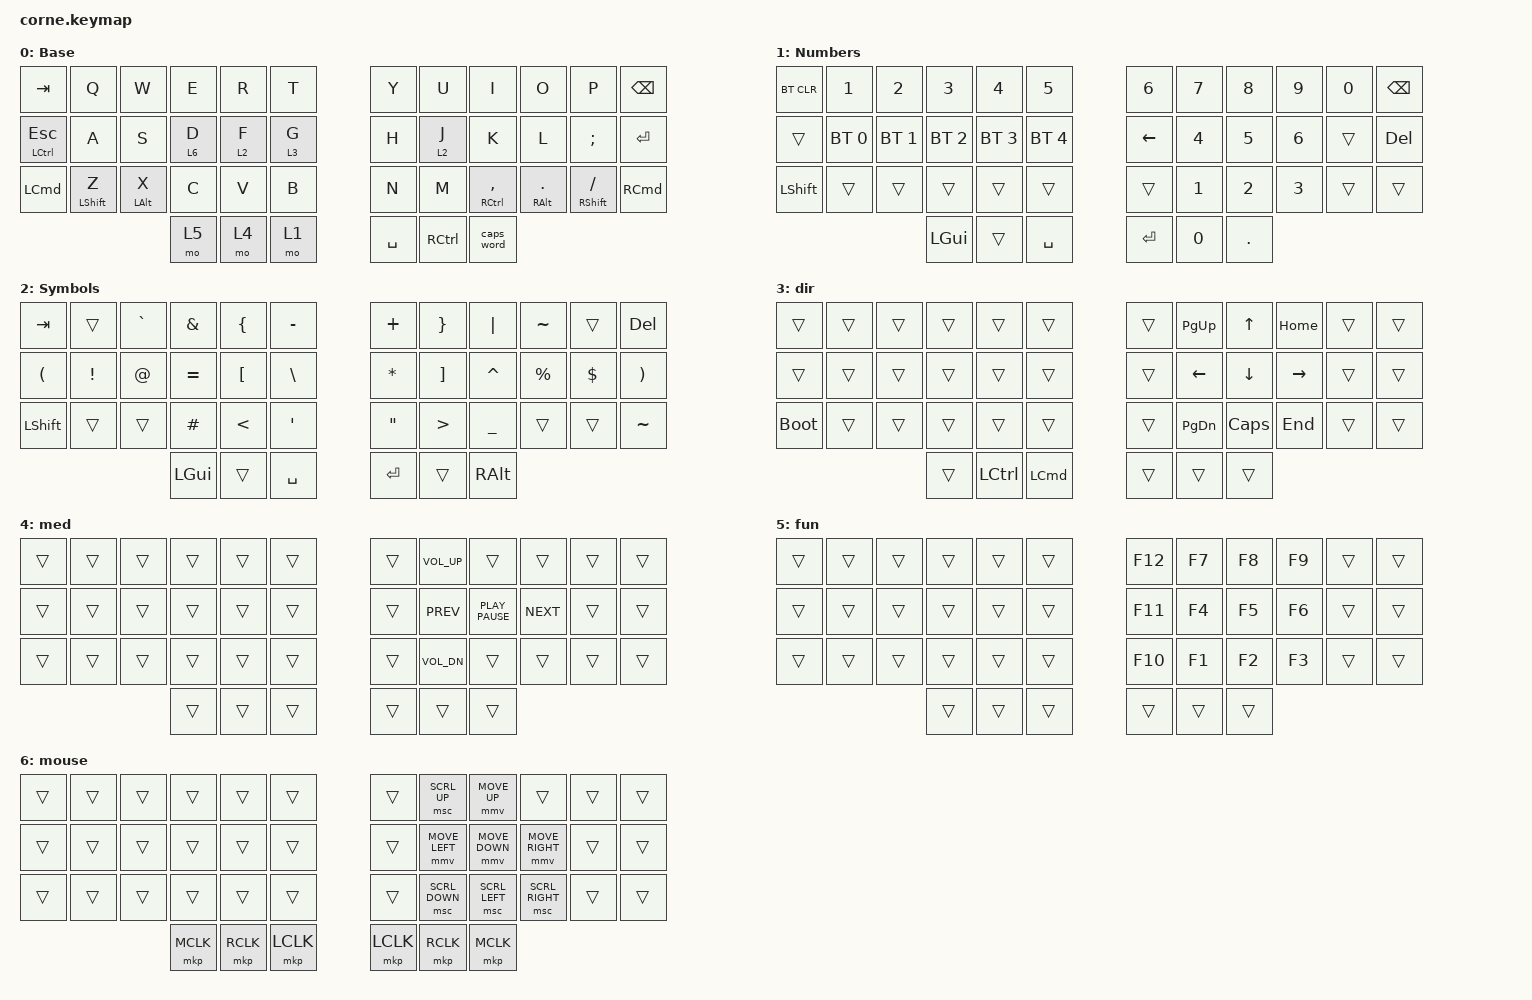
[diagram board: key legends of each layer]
/*
 * Copyright (c) 2020 The ZMK Contributors
 *
 * SPDX-License-Identifier: MIT
 */

#include <dt-bindings/zmk/mouse.h>
#include <behaviors.dtsi>
#include <dt-bindings/zmk/bt.h>
#include <dt-bindings/zmk/keys.h>
#include <dt-bindings/zmk/pointing.h>

#define ZMK_MOUSE_DEFAULT_MOVE_VAL 1500  // 600
#define ZMK_MOUSE_DEFAULT_SCRL_VAL 20    // 10

// Config from @caksoylar, defaults in comments

&mmv {
    acceleration-exponent = <1>;      // 1
    time-to-max-speed-ms = <500>;     // 300
    delay-ms = <0>;                   // 0
};

&msc {
    acceleration-exponent = <1>;      // 0
    time-to-max-speed-ms = <40>;      // 300
    delay-ms = <0>;                   // 0
};

#define U_MS_U &mmv MOVE_UP
#define U_MS_D &mmv MOVE_DOWN
#define U_MS_L &mmv MOVE_LEFT
#define U_MS_R &mmv MOVE_RIGHT
#define U_WH_U &msc SCRL_UP
#define U_WH_D &msc SCRL_DOWN
#define U_WH_L &msc SCRL_LEFT
#define U_WH_R &msc SCRL_RIGHT

/ {
    keymap {
        compatible = "zmk,keymap";

        default_layer {
            // -----------------------------------------------------------------------------------------
            // |  TAB |  Q  |  W  |  E  |  R  |  T  |   |  Y  |  U   |  I  |  O  |  P  | BKSP |
            // | CTRL |  A  |  S  |  D  |  F  |  G  |   |  H  |  J   |  K  |  L  |  ;  |  '   |
            // | SHFT |  Z  |  X  |  C  |  V  |  B  |   |  N  |  M   |  ,  |  .  |  /  | ESC  |
            //                    | GUI | LWR | SPC |   | ENT | RSE  | ALT |

            display-name = "Base";
            bindings = <
&kp TAB           &kp Q        &kp W       &kp E    &kp R    &kp T      &kp Y      &kp U      &kp I            &kp O            &kp P            &kp BSPC
&mt LCTRL ESC     &kp A        &kp S       &lt 6 D  &lt 2 F  &lt 3 G    &kp H      &lt 2 J    &kp K            &kp L            &kp SEMI         &kp RET
&kp LEFT_COMMAND  &mt LSHFT Z  &mt LALT X  &kp C    &kp V    &kp B      &kp N      &kp M      &mt RCTRL COMMA  &mt RALT PERIOD  &mt RSHFT SLASH  &kp RIGHT_COMMAND
                                           &mo 5    &mo 4    &mo 1      &kp SPACE  &kp RCTRL  &caps_word
            >;
        };

        numbers_layer {
            // -----------------------------------------------------------------------------------------
            // |  TAB |  1  |  2  |  3  |  4  |  5  |   |  6  |  7  |  8  |  9  |  0  | BKSP |
            // | BTCLR| BT1 | BT2 | BT3 | BT4 | BT5 |   | LFT | DWN |  UP | RGT |     |      |
            // | SHFT |     |     |     |     |     |   |     |     |     |     |     |      |
            //                    | GUI |     | SPC |   | ENT |     | ALT |

            display-name = "Numbers";
            bindings = <
&bt BT_CLR  &kp N1        &kp N2        &kp N3        &kp N4        &kp N5          &kp N6    &kp N7  &kp N8      &kp N9  &kp N0  &kp BACKSPACE
&trans      &bt BT_SEL 0  &bt BT_SEL 1  &bt BT_SEL 2  &bt BT_SEL 3  &bt BT_SEL 4    &kp LEFT  &kp N4  &kp N5      &kp N6  &trans  &kp DEL
&kp LSHFT   &trans        &trans        &trans        &trans        &trans          &trans    &kp N1  &kp N2      &kp N3  &trans  &trans
                                        &kp LGUI      &trans        &kp SPACE       &kp RET   &kp N0  &kp PERIOD
            >;

            label = "num";
        };

        symbols_layer {
            // -----------------------------------------------------------------------------------------
            // |  TAB |  !  |  @  |  #  |  $  |  %  |   |  ^  |  &  |  *  |  (  |  )  | BKSP |
            // | CTRL |     |     |     |     |     |   |  -  |  =  |  [  |  ]  |  \  |  `   |
            // | SHFT |     |     |     |     |     |   |  _  |  +  |  {  |  }  | "|" |  ~   |
            //                    | GUI |     | SPC |   | ENT |     | ALT |

            display-name = "Symbols";
            bindings = <
&kp TAB               &trans           &kp GRAVE    &kp AMPERSAND  &kp LEFT_BRACE    &kp MINUS        &kp PLUS           &kp RIGHT_BRACE    &kp PIPE        &kp TILDE    &trans      &kp DEL
&kp LEFT_PARENTHESIS  &kp EXCLAMATION  &kp AT_SIGN  &kp EQUAL      &kp LEFT_BRACKET  &kp BACKSLASH    &kp ASTERISK       &kp RIGHT_BRACKET  &kp CARET       &kp PERCENT  &kp DOLLAR  &kp RIGHT_PARENTHESIS
&kp LSHFT             &trans           &trans       &kp HASH       &kp LESS_THAN     &kp SQT          &kp DOUBLE_QUOTES  &kp GREATER_THAN   &kp UNDERSCORE  &trans       &trans      &kp TILDE
                                                    &kp LGUI       &trans            &kp SPACE        &kp RET            &trans             &kp RALT
            >;

            label = "sym";
        };

        direction_layer {
            bindings = <
&trans       &trans  &trans  &trans  &trans     &trans              &trans  &kp PAGE_UP     &kp UP_ARROW    &kp HOME         &trans  &trans
&trans       &trans  &trans  &trans  &trans     &trans              &trans  &kp LEFT_ARROW  &kp DOWN_ARROW  &kp RIGHT_ARROW  &trans  &trans
&bootloader  &trans  &trans  &trans  &trans     &trans              &trans  &kp PAGE_DOWN   &kp CAPS        &kp END          &trans  &trans
                             &trans  &kp LCTRL  &kp LEFT_COMMAND    &trans  &trans          &trans
            >;

            label = "dir";
        };

        media_layer {
            bindings = <
&trans  &trans  &trans  &trans  &trans  &trans    &trans  &kp C_VOLUME_UP  &trans            &trans      &trans  &trans
&trans  &trans  &trans  &trans  &trans  &trans    &trans  &kp K_PREV       &kp K_PLAY_PAUSE  &kp C_NEXT  &trans  &trans
&trans  &trans  &trans  &trans  &trans  &trans    &trans  &kp C_VOL_DN     &trans            &trans      &trans  &trans
                        &trans  &trans  &trans    &trans  &trans           &trans
            >;

            label = "med";
        };

        func_layer {
            bindings = <
&trans  &trans  &trans  &trans  &trans  &trans    &kp F12  &kp F7  &kp F8  &kp F9  &trans  &trans
&trans  &trans  &trans  &trans  &trans  &trans    &kp F11  &kp F4  &kp F5  &kp F6  &trans  &trans
&trans  &trans  &trans  &trans  &trans  &trans    &kp F10  &kp F1  &kp F2  &kp F3  &trans  &trans
                        &trans  &trans  &trans    &trans   &trans  &trans
            >;

            label = "fun";
        };

        mouse_layer {
            bindings = <
&trans  &trans                       &trans  &trans  &trans                       &trans       &trans U_WH_U U_MS_U  &trans     &trans     &trans     &trans  &trans
&trans  &trans                       &trans  &trans  &trans U_MS_L U_MS_D U_MS_R  &trans       &trans                &trans     &trans     &trans     &trans  &trans
&trans  &trans U_WH_D U_WH_L U_WH_R  &trans  &trans  &mkp MCLK                    &mkp RCLK    &mkp LCLK             &mkp LCLK  &mkp RCLK  &mkp MCLK
            >;

            label = "mouse";
        };
    };
};
